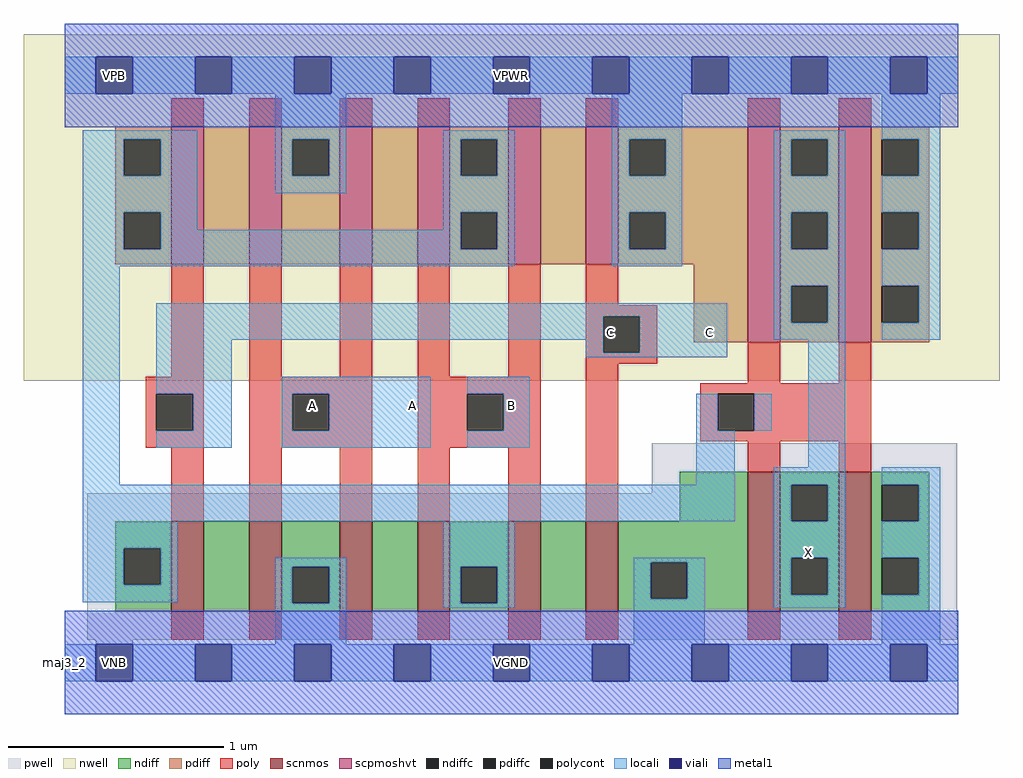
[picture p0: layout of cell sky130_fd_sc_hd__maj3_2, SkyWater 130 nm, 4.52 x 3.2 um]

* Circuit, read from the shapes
.subckt sky130_fd_sc_hd__maj3_2 A B C VGND VNB VPB VPWR X
XM1 n1 C n2 VNB sky130_fd_pr__nfet_01v8 w=0.42 l=0.15
XM2 VGND A n1 VNB sky130_fd_pr__nfet_01v8 w=0.42 l=0.15
XM3 n3 A VGND VNB sky130_fd_pr__nfet_01v8 w=0.42 l=0.15
XM4 n2 B n3 VNB sky130_fd_pr__nfet_01v8 w=0.42 l=0.15
XM5 n4 B n2 VNB sky130_fd_pr__nfet_01v8 w=0.42 l=0.15
XM6 VGND C n4 VNB sky130_fd_pr__nfet_01v8 w=0.42 l=0.15
XM7 X n2 VGND VNB sky130_fd_pr__nfet_01v8 w=0.65 l=0.15 m=2
XM8 n5 C n2 VPB sky130_fd_pr__pfet_01v8_hvt w=0.64 l=0.15
XM9 VPWR A n5 VPB sky130_fd_pr__pfet_01v8_hvt w=0.64 l=0.15
XM10 n6 A VPWR VPB sky130_fd_pr__pfet_01v8_hvt w=0.64 l=0.15
XM11 n2 B n6 VPB sky130_fd_pr__pfet_01v8_hvt w=0.64 l=0.15
XM12 n7 B n2 VPB sky130_fd_pr__pfet_01v8_hvt w=0.64 l=0.15
XM13 VPWR C n7 VPB sky130_fd_pr__pfet_01v8_hvt w=0.64 l=0.15
XM14 X n2 VPWR VPB sky130_fd_pr__pfet_01v8_hvt w=1 l=0.15 m=2
.ends

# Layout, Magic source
magic
tech sky130A
magscale 1 2
<< nwell >>
rect -38 261 866 582
<< pwell >>
rect 544 157 827 203
rect 21 21 827 157
rect 29 -17 63 21
<< scnmos >>
rect 99 47 129 131
rect 171 47 201 131
rect 255 47 285 131
rect 327 47 357 131
rect 411 47 441 131
rect 483 47 513 131
rect 633 47 663 177
rect 717 47 747 177
<< scpmoshvt >>
rect 99 369 129 497
rect 171 369 201 497
rect 255 369 285 497
rect 327 369 357 497
rect 411 369 441 497
rect 483 369 513 497
rect 633 297 663 497
rect 717 297 747 497
<< ndiff >>
rect 570 131 633 177
rect 47 106 99 131
rect 47 72 55 106
rect 89 72 99 106
rect 47 47 99 72
rect 129 47 171 131
rect 201 89 255 131
rect 201 55 211 89
rect 245 55 255 89
rect 201 47 255 55
rect 285 47 327 131
rect 357 89 411 131
rect 357 55 367 89
rect 401 55 411 89
rect 357 47 411 55
rect 441 47 483 131
rect 513 93 633 131
rect 513 59 543 93
rect 577 59 633 93
rect 513 47 633 59
rect 663 165 717 177
rect 663 131 673 165
rect 707 131 717 165
rect 663 97 717 131
rect 663 63 673 97
rect 707 63 717 97
rect 663 47 717 63
rect 747 165 801 177
rect 747 131 757 165
rect 791 131 801 165
rect 747 97 801 131
rect 747 63 757 97
rect 791 63 801 97
rect 747 47 801 63
<< pdiff >>
rect 47 485 99 497
rect 47 451 55 485
rect 89 451 99 485
rect 47 417 99 451
rect 47 383 55 417
rect 89 383 99 417
rect 47 369 99 383
rect 129 369 171 497
rect 201 485 255 497
rect 201 451 211 485
rect 245 451 255 485
rect 201 369 255 451
rect 285 369 327 497
rect 357 485 411 497
rect 357 451 367 485
rect 401 451 411 485
rect 357 417 411 451
rect 357 383 367 417
rect 401 383 411 417
rect 357 369 411 383
rect 441 369 483 497
rect 513 485 633 497
rect 513 451 523 485
rect 557 451 633 485
rect 513 417 633 451
rect 513 383 523 417
rect 557 383 633 417
rect 513 369 633 383
rect 583 297 633 369
rect 663 485 717 497
rect 663 451 673 485
rect 707 451 717 485
rect 663 417 717 451
rect 663 383 673 417
rect 707 383 717 417
rect 663 349 717 383
rect 663 315 673 349
rect 707 315 717 349
rect 663 297 717 315
rect 747 485 801 497
rect 747 451 757 485
rect 791 451 801 485
rect 747 417 801 451
rect 747 383 757 417
rect 791 383 801 417
rect 747 349 801 383
rect 747 315 757 349
rect 791 315 801 349
rect 747 297 801 315
<< ndiffc >>
rect 55 72 89 106
rect 211 55 245 89
rect 367 55 401 89
rect 543 59 577 93
rect 673 131 707 165
rect 673 63 707 97
rect 757 131 791 165
rect 757 63 791 97
<< pdiffc >>
rect 55 451 89 485
rect 55 383 89 417
rect 211 451 245 485
rect 367 451 401 485
rect 367 383 401 417
rect 523 451 557 485
rect 523 383 557 417
rect 673 451 707 485
rect 673 383 707 417
rect 673 315 707 349
rect 757 451 791 485
rect 757 383 791 417
rect 757 315 791 349
<< poly >>
rect 99 497 129 523
rect 171 497 201 523
rect 255 497 285 523
rect 327 497 357 523
rect 411 497 441 523
rect 483 497 513 523
rect 633 497 663 523
rect 717 497 747 523
rect 99 265 129 369
rect 75 249 129 265
rect 75 215 85 249
rect 119 215 129 249
rect 75 199 129 215
rect 99 131 129 199
rect 171 265 201 369
rect 255 265 285 369
rect 171 249 285 265
rect 171 215 211 249
rect 245 215 285 249
rect 171 199 285 215
rect 171 131 201 199
rect 255 131 285 199
rect 327 265 357 369
rect 411 265 441 369
rect 327 249 441 265
rect 327 215 373 249
rect 407 215 441 249
rect 327 199 441 215
rect 327 131 357 199
rect 411 131 441 199
rect 483 331 513 369
rect 483 321 549 331
rect 483 287 499 321
rect 533 287 549 321
rect 483 277 549 287
rect 483 131 513 277
rect 633 259 663 297
rect 717 259 747 297
rect 589 249 747 259
rect 589 215 605 249
rect 639 215 747 249
rect 589 205 747 215
rect 633 177 663 205
rect 717 177 747 205
rect 99 21 129 47
rect 171 21 201 47
rect 255 21 285 47
rect 327 21 357 47
rect 411 21 441 47
rect 483 21 513 47
rect 633 21 663 47
rect 717 21 747 47
<< polycont >>
rect 85 215 119 249
rect 211 215 245 249
rect 373 215 407 249
rect 499 287 533 321
rect 605 215 639 249
<< locali >>
rect 0 527 29 561
rect 63 527 121 561
rect 155 527 213 561
rect 247 527 305 561
rect 339 527 397 561
rect 431 527 489 561
rect 523 527 581 561
rect 615 527 673 561
rect 707 527 765 561
rect 799 527 828 561
rect 17 485 123 493
rect 17 451 55 485
rect 89 451 123 485
rect 17 417 123 451
rect 195 485 261 527
rect 195 451 211 485
rect 245 451 261 485
rect 195 435 261 451
rect 351 485 417 493
rect 351 451 367 485
rect 401 451 417 485
rect 17 383 55 417
rect 89 401 123 417
rect 351 417 417 451
rect 351 401 367 417
rect 89 383 367 401
rect 401 383 417 417
rect 17 367 417 383
rect 507 485 572 527
rect 507 451 523 485
rect 557 451 572 485
rect 507 417 572 451
rect 507 383 523 417
rect 557 383 572 417
rect 507 367 572 383
rect 657 485 723 493
rect 657 451 673 485
rect 707 451 723 485
rect 657 417 723 451
rect 657 383 673 417
rect 707 383 723 417
rect 17 165 51 367
rect 657 349 723 383
rect 85 321 614 333
rect 85 299 499 321
rect 85 249 155 299
rect 483 287 499 299
rect 533 287 614 321
rect 657 315 673 349
rect 707 315 723 349
rect 657 299 723 315
rect 757 485 811 527
rect 791 451 811 485
rect 757 417 811 451
rect 791 383 811 417
rect 757 349 811 383
rect 791 315 811 349
rect 757 299 811 315
rect 483 283 614 287
rect 119 215 155 249
rect 85 199 155 215
rect 201 249 339 265
rect 201 215 211 249
rect 245 215 339 249
rect 201 199 339 215
rect 373 249 431 265
rect 407 215 431 249
rect 373 199 431 215
rect 585 215 605 249
rect 639 215 655 249
rect 585 165 621 215
rect 689 181 723 299
rect 17 131 621 165
rect 657 165 723 181
rect 657 131 673 165
rect 707 131 723 165
rect 17 106 105 131
rect 17 72 55 106
rect 89 72 105 106
rect 17 56 105 72
rect 195 89 261 97
rect 195 55 211 89
rect 245 55 261 89
rect 195 17 261 55
rect 351 89 417 131
rect 657 97 723 131
rect 351 55 367 89
rect 401 55 417 89
rect 351 51 417 55
rect 527 93 593 97
rect 527 59 543 93
rect 577 59 593 93
rect 527 17 593 59
rect 657 63 673 97
rect 707 63 723 97
rect 657 51 723 63
rect 757 165 811 181
rect 791 131 811 165
rect 757 97 811 131
rect 791 63 811 97
rect 757 17 811 63
rect 0 -17 29 17
rect 63 -17 121 17
rect 155 -17 213 17
rect 247 -17 305 17
rect 339 -17 397 17
rect 431 -17 489 17
rect 523 -17 581 17
rect 615 -17 673 17
rect 707 -17 765 17
rect 799 -17 828 17
<< viali >>
rect 29 527 63 561
rect 121 527 155 561
rect 213 527 247 561
rect 305 527 339 561
rect 397 527 431 561
rect 489 527 523 561
rect 581 527 615 561
rect 673 527 707 561
rect 765 527 799 561
rect 29 -17 63 17
rect 121 -17 155 17
rect 213 -17 247 17
rect 305 -17 339 17
rect 397 -17 431 17
rect 489 -17 523 17
rect 581 -17 615 17
rect 673 -17 707 17
rect 765 -17 799 17
<< metal1 >>
rect 0 561 828 592
rect 0 527 29 561
rect 63 527 121 561
rect 155 527 213 561
rect 247 527 305 561
rect 339 527 397 561
rect 431 527 489 561
rect 523 527 581 561
rect 615 527 673 561
rect 707 527 765 561
rect 799 527 828 561
rect 0 496 828 527
rect 0 17 828 48
rect 0 -17 29 17
rect 63 -17 121 17
rect 155 -17 213 17
rect 247 -17 305 17
rect 339 -17 397 17
rect 431 -17 489 17
rect 523 -17 581 17
rect 615 -17 673 17
rect 707 -17 765 17
rect 799 -17 828 17
rect 0 -48 828 -17
<< labels >>
flabel pwell s 29 -17 63 17 0 FreeSans 200 0 0 0 VNB
port 5 nsew ground bidirectional
flabel nwell s 29 527 63 561 0 FreeSans 200 0 0 0 VPB
port 6 nsew power bidirectional
flabel metal1 s 29 -17 63 17 0 FreeSans 200 0 0 0 VGND
port 4 nsew ground bidirectional abutment
flabel metal1 s 29 527 63 561 0 FreeSans 200 0 0 0 VPWR
port 7 nsew power bidirectional abutment
flabel locali s 397 221 431 255 0 FreeSans 250 0 0 0 B
port 2 nsew signal input
flabel locali s 213 221 247 255 0 FreeSans 250 0 0 0 A
port 1 nsew signal input
flabel locali s 305 221 339 255 0 FreeSans 250 0 0 0 A
port 1 nsew signal input
flabel locali s 489 289 523 323 0 FreeSans 250 0 0 0 C
port 3 nsew signal input
flabel locali s 580 289 614 323 0 FreeSans 250 0 0 0 C
port 3 nsew signal input
flabel locali s 672 85 706 119 0 FreeSans 250 0 0 0 X
port 8 nsew signal output
rlabel comment s 0 0 0 0 4 maj3_2
rlabel metal1 s 0 -48 828 48 1 VGND
port 4 nsew ground bidirectional abutment
rlabel metal1 s 0 496 828 592 1 VPWR
port 7 nsew power bidirectional abutment
<< properties >>
string FIXED_BBOX 0 0 828 544
string GDS_END 1655354
string GDS_FILE $PDKPATH/libs.ref/sky130_fd_sc_hd/gds/sky130_fd_sc_hd.gds
string GDS_START 1648906
string LEFclass CORE
string LEFsite unithd
string LEFsymmetry X Y R90
string path 0.000 0.000 20.700 0.000 
<< end >>
